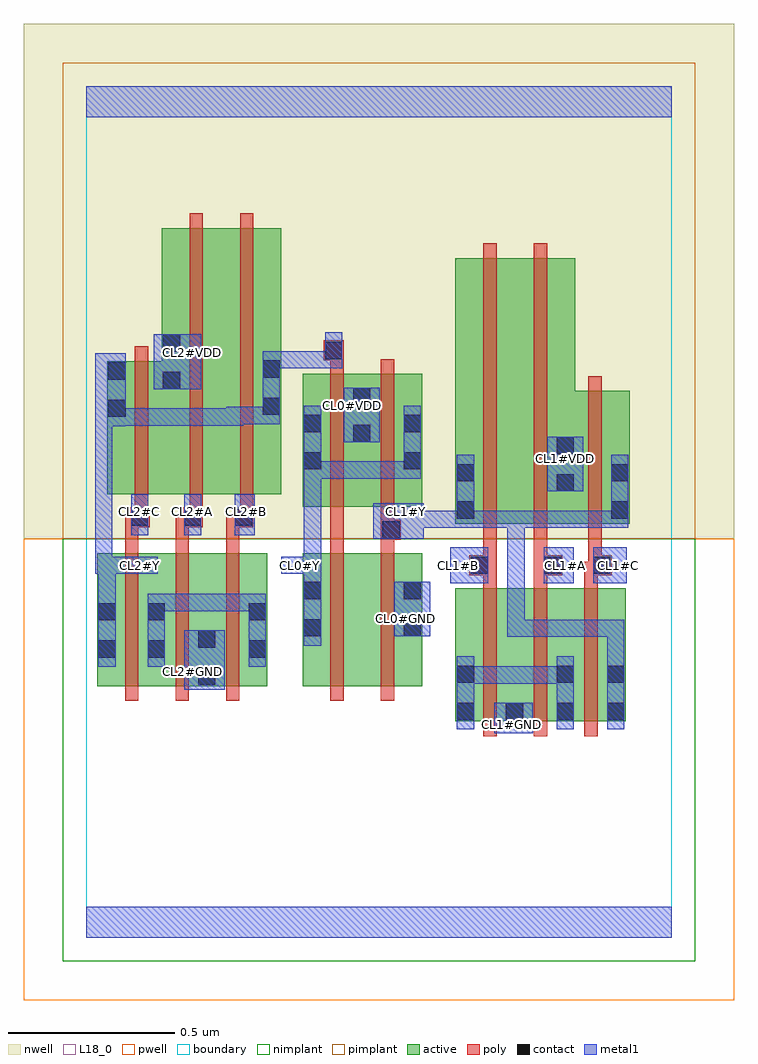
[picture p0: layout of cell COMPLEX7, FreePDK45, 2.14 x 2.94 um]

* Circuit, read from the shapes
.subckt COMPLEX7 CL0#GND CL0#VDD CL0#Y CL1#A CL1#B CL1#C CL1#GND CL1#VDD CL1#Y CL2#A CL2#B CL2#C CL2#GND CL2#VDD CL2#Y
M1 n1 CL2#C CL2#Y VSUBS nfet w=0.4u l=0.04u
M2 CL2#GND CL2#A n1 VSUBS nfet w=0.4u l=0.04u
M3 n1 CL2#B CL2#GND VSUBS nfet w=0.4u l=0.04u
M4 n2 CL2#Y CL0#Y VSUBS nfet w=0.4u l=0.04u
M5 CL0#GND CL1#Y n2 VSUBS nfet w=0.4u l=0.04u
M6 CL1#GND CL1#B n3 VSUBS nfet w=0.4u l=0.04u
M7 n3 CL1#A CL1#GND VSUBS nfet w=0.4u l=0.04u
M8 CL1#Y CL1#C n3 VSUBS nfet w=0.4u l=0.04u
M9 CL2#VDD CL2#C CL2#Y n4 pfet w=0.4u l=0.04u
M10 n5 CL2#A CL2#VDD n4 pfet w=0.8u l=0.04u
M11 CL2#Y CL2#B n5 n4 pfet w=0.8u l=0.04u
M12 CL0#VDD CL2#Y CL0#Y n4 pfet w=0.4u l=0.04u
M13 CL0#Y CL1#Y CL0#VDD n4 pfet w=0.4u l=0.04u
M14 n6 CL1#B CL1#Y n4 pfet w=0.8u l=0.04u
M15 CL1#VDD CL1#A n6 n4 pfet w=0.8u l=0.04u
M16 CL1#Y CL1#C CL1#VDD n4 pfet w=0.4u l=0.04u
.ends

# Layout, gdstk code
import gdstk
lib = gdstk.Library(unit=1e-6, precision=1e-09)
def R(c, l, rs):  # rectangles x0, y0, x1, y1
    for r in rs: c.add(gdstk.rectangle(r[:2], r[2:], *l))
def A(c, l, x, y, w, h, nx, ny, dx, dy):  # array of equal rectangles
    R(c, l, [(x+i*dx, y+j*dy, x+i*dx+w, y+j*dy+h) for i in range(nx) for j in range(ny)])
active = (1, 0)
pwell = (2, 0)
nwell = (3, 0)
nimplant = (4, 0)
pimplant = (5, 0)
poly = (9, 0)
contact = (10, 0)
metal1 = (11, 0)
L18_0 = (18, 0)
boundary = (235, 0)

complex7 = lib.new_cell('COMPLEX7')
A(complex7, active, 1.258, 0.65, 0.06, 0.4, 3, 1, 0.152, 0)
A(complex7, active, 0.18, 0.756, 0.06, 0.4, 3, 1, 0.152, 0)
R(complex7, active, [(1.11,0.65,1.17,1.05), (1.11,0.65,1.318,1.05), (1.258,0.65,1.47,1.05), (1.41,0.65,1.622,1.05), (0.032,0.756,0.092,1.156), (0.032,0.756,0.24,1.156), (0.18,0.756,0.392,1.156), (0.332,0.756,0.544,1.156), (0.65,0.756,0.71,1.156), (0.65,0.756,0.83,1.156), (0.83,0.756,1.01,1.156), (0.95,0.756,1.01,1.156), (1.11,1.244,1.17,2.044), (1.11,1.244,1.29,2.044), (1.29,1.244,1.47,2.044), (1.41,1.244,1.634,1.644), (1.41,1.244,1.47,2.044), (1.574,1.244,1.634,1.644), (0.65,1.296,0.858,1.696), (0.65,1.296,0.71,1.644), (0.798,1.296,1.01,1.696), (0.95,1.296,1.01,1.644), (0.798,1.31,0.858,1.696), (0.062,1.334,0.122,1.734), (0.062,1.334,0.286,1.734), (0.226,1.334,0.406,2.134), (0.406,1.334,0.586,2.134), (0.526,1.334,0.586,2.044), (0.226,1.498,0.286,1.818)])
R(complex7, pwell, [(-0.188,-0.188,1.948,1.2)])
R(complex7, nwell, [(-0.188,1.2,1.948,2.748)])
R(complex7, nimplant, [(-0.072,-0.072,1.832,1.2)])
R(complex7, pimplant, [(-0.072,1.2,1.832,2.632)])
A(complex7, poly, 1.194, 0.606, 0.04, 0.488, 3, 1, 0.152, 0)
A(complex7, poly, 0.116, 0.712, 0.04, 0.488, 3, 1, 0.152, 0)
A(complex7, poly, 1.194, 1.054, 0.04, 0.076, 3, 1, 0.152, 0)
A(complex7, poly, 0.116, 1.16, 0.04, 0.114, 3, 1, 0.152, 0)
R(complex7, poly, [(0.734,0.712,0.774,1.2), (0.886,0.712,0.926,1.2), (1.152,1.09,1.234,1.15), (1.346,1.09,1.386,1.13), (1.346,1.09,1.386,1.13), (1.346,1.09,1.432,1.15), (1.498,1.09,1.55,1.13), (1.51,1.09,1.55,1.13), (1.51,1.09,1.58,1.15), (1.194,1.11,1.234,1.24), (1.194,1.11,1.234,1.15), (1.194,1.11,1.234,1.15), (1.346,1.11,1.386,1.24), (1.51,1.11,1.55,1.24), (0.734,1.16,0.774,1.256), (0.886,1.16,0.926,1.236), (0.886,1.196,0.926,1.236), (0.886,1.196,0.926,1.236), (0.886,1.196,0.946,1.256), (1.194,1.2,1.234,2.088), (1.346,1.2,1.386,2.088), (1.51,1.2,1.55,1.688), (0.734,1.216,0.774,1.256), (0.734,1.216,0.774,1.256), (0.734,1.216,0.774,1.256), (0.734,1.216,0.774,1.292), (0.886,1.216,0.926,1.292), (0.116,1.234,0.17,1.274), (0.13,1.234,0.17,1.274), (0.13,1.234,0.19,1.294), (0.268,1.234,0.33,1.274), (0.29,1.234,0.33,1.274), (0.29,1.234,0.35,1.294), (0.42,1.234,0.482,1.274), (0.442,1.234,0.482,1.274), (0.442,1.234,0.502,1.294), (0.734,1.252,0.774,1.74), (0.886,1.252,0.926,1.74), (0.146,1.254,0.186,1.33), (0.31,1.254,0.35,1.33), (0.462,1.254,0.502,1.33), (0.146,1.29,0.186,1.778), (0.31,1.29,0.35,2.178), (0.462,1.29,0.502,2.178), (0.734,1.7,0.774,1.776), (0.714,1.736,0.774,1.796)])
A(complex7, contact, 1.262, 0.654, 0.052, 0.052, 3, 1, 0.152, 0)
R(complex7, contact, [(1.114,0.654,1.166,0.706), (0.336,0.76,0.388,0.812), (1.114,0.766,1.166,0.818), (1.414,0.766,1.466,0.818), (1.566,0.766,1.618,0.818), (0.036,0.842,0.088,0.894), (0.184,0.842,0.236,0.894), (0.488,0.842,0.54,0.894), (0.336,0.872,0.388,0.924), (0.654,0.906,0.706,0.958), (0.954,0.906,1.006,0.958), (0.036,0.954,0.088,1.006), (0.184,0.954,0.236,1.006), (0.488,0.954,0.54,1.006), (0.654,1.018,0.706,1.07), (0.954,1.018,1.006,1.07), (1.156,1.094,1.208,1.146), (1.376,1.094,1.428,1.146), (1.524,1.094,1.576,1.146), (0.89,1.2,0.942,1.252), (0.134,1.238,0.186,1.29), (0.294,1.238,0.346,1.29), (0.446,1.238,0.498,1.29), (1.114,1.26,1.166,1.312), (1.578,1.26,1.63,1.312), (1.414,1.342,1.466,1.394), (1.114,1.372,1.166,1.424), (1.578,1.372,1.63,1.424), (0.654,1.408,0.706,1.46), (0.954,1.408,1.006,1.46), (1.414,1.454,1.466,1.506), (0.802,1.49,0.854,1.542), (0.654,1.52,0.706,1.572), (0.954,1.52,1.006,1.572), (0.066,1.566,0.118,1.618), (0.53,1.572,0.582,1.624), (0.802,1.602,0.854,1.654), (0.23,1.65,0.282,1.702), (0.066,1.678,0.118,1.73), (0.53,1.684,0.582,1.736), (0.718,1.74,0.77,1.792), (0.23,1.762,0.282,1.814)])
R(complex7, metal1, [(0,0,1.76,0.092), (1.226,0.614,1.342,0.706), (1.114,0.626,1.166,0.846), (1.414,0.626,1.466,0.846), (1.566,0.626,1.618,0.846), (0.294,0.746,0.416,0.924), (1.114,0.764,1.166,0.816), (1.114,0.764,1.166,0.816), (1.114,0.764,1.328,0.816), (1.276,0.764,1.328,0.816), (1.276,0.764,1.466,0.816), (1.414,0.764,1.466,0.816), (1.414,0.764,1.466,0.816), (1.566,0.794,1.618,0.956), (0.036,0.814,0.088,1.034), (0.184,0.814,0.236,1.034), (0.488,0.814,0.54,1.034), (0.654,0.878,0.706,1.098), (1.266,0.904,1.318,0.956), (1.266,0.904,1.318,0.956), (1.266,0.904,1.318,0.956), (1.266,0.904,1.438,0.956), (1.266,0.904,1.318,1.284), (1.386,0.904,1.438,0.956), (1.386,0.904,1.618,0.956), (1.566,0.904,1.618,0.956), (1.566,0.904,1.618,0.956), (1.566,0.904,1.618,0.956), (0.926,0.906,1.034,1.07), (0.036,0.982,0.088,1.146), (0.184,0.982,0.236,1.034), (0.184,0.982,0.236,1.034), (0.184,0.982,0.43,1.034), (0.378,0.982,0.43,1.034), (0.378,0.982,0.43,1.034), (0.378,0.982,0.43,1.034), (0.378,0.982,0.54,1.034), (0.654,1.046,0.706,1.146), (1.094,1.066,1.208,1.174), (1.376,1.066,1.466,1.174), (1.524,1.066,1.626,1.174), (0.026,1.094,0.078,1.59), (0.026,1.094,0.214,1.146), (0.586,1.094,0.706,1.146), (0.654,1.094,0.706,1.146), (0.654,1.094,0.706,1.146), (0.654,1.094,0.706,1.432), (0.862,1.2,1.014,1.306), (0.134,1.21,0.186,1.334), (0.294,1.21,0.346,1.334), (0.446,1.21,0.506,1.334), (0.962,1.232,1.014,1.284), (0.962,1.232,1.014,1.284), (0.962,1.232,1.166,1.284), (1.114,1.232,1.166,1.284), (1.114,1.232,1.166,1.284), (1.114,1.232,1.166,1.284), (1.114,1.232,1.166,1.284), (1.114,1.232,1.166,1.284), (1.114,1.232,1.166,1.284), (1.114,1.232,1.166,1.452), (1.114,1.232,1.318,1.284), (1.114,1.232,1.318,1.284), (1.266,1.232,1.318,1.284), (1.266,1.232,1.318,1.284), (1.266,1.232,1.318,1.284), (1.266,1.232,1.318,1.284), (1.266,1.232,1.508,1.284), (1.456,1.232,1.508,1.284), (1.456,1.232,1.63,1.284), (1.578,1.232,1.63,1.284), (1.578,1.232,1.63,1.284), (1.578,1.232,1.63,1.452), (1.386,1.342,1.494,1.506), (0.654,1.38,0.706,1.432), (0.654,1.38,0.706,1.432), (0.654,1.38,0.706,1.6), (0.654,1.38,0.868,1.432), (0.816,1.38,0.868,1.432), (0.816,1.38,0.868,1.432), (0.816,1.38,0.868,1.432), (0.816,1.38,1.006,1.432), (0.954,1.38,1.006,1.6), (0.774,1.49,0.882,1.654), (0.026,1.538,0.078,1.59), (0.026,1.538,0.078,1.59), (0.026,1.538,0.118,1.758), (0.066,1.54,0.118,1.592), (0.066,1.54,0.118,1.592), (0.066,1.54,0.236,1.592), (0.184,1.54,0.236,1.592), (0.184,1.54,0.236,1.592), (0.184,1.54,0.236,1.592), (0.184,1.54,0.43,1.592), (0.378,1.54,0.43,1.592), (0.378,1.54,0.472,1.592), (0.42,1.54,0.472,1.596), (0.42,1.544,0.582,1.596), (0.53,1.544,0.582,1.764), (0.202,1.65,0.346,1.814), (0.53,1.712,0.582,1.764), (0.53,1.712,0.582,1.764), (0.53,1.712,0.582,1.764), (0.53,1.712,0.582,1.764), (0.53,1.712,0.582,1.764), (0.53,1.712,0.582,1.764), (0.53,1.712,0.582,1.764), (0.53,1.712,0.582,1.764), (0.53,1.712,0.582,1.764), (0.53,1.712,0.582,1.764), (0.53,1.712,0.77,1.764), (0.718,1.712,0.77,1.82), (0,2.468,1.76,2.56)])
A(complex7, L18_0, 0.134, 1.254, 0.052, 0.052, 3, 1, 0.16, 0)
R(complex7, L18_0, [(0,0,1.76,0.092), (1.226,0.614,1.342,0.706), (1.254,0.614,1.306,0.666), (1.566,0.626,1.618,0.846), (0.294,0.746,0.416,0.924), (0.294,0.774,0.346,0.826), (1.566,0.794,1.618,0.956), (0.036,0.814,0.088,1.034), (0.654,0.878,0.706,1.098), (1.266,0.904,1.318,0.956), (1.266,0.904,1.318,0.956), (1.266,0.904,1.318,0.956), (1.266,0.904,1.318,1.284), (1.266,0.904,1.438,0.956), (1.386,0.904,1.438,0.956), (1.386,0.904,1.618,0.956), (1.566,0.904,1.618,0.956), (1.566,0.904,1.618,0.956), (1.566,0.904,1.618,0.956), (0.926,0.906,1.034,1.07), (0.934,0.934,0.986,0.986), (0.036,0.982,0.088,1.146), (0.654,1.046,0.706,1.146), (1.094,1.066,1.208,1.174), (1.376,1.066,1.466,1.174), (1.524,1.066,1.626,1.174), (0.026,1.094,0.214,1.146), (0.026,1.094,0.078,1.59), (0.134,1.094,0.186,1.146), (0.586,1.094,0.706,1.146), (0.614,1.094,0.666,1.146), (0.654,1.094,0.706,1.146), (0.654,1.094,0.706,1.146), (0.654,1.094,0.706,1.432), (1.094,1.094,1.146,1.146), (1.414,1.094,1.466,1.146), (1.574,1.094,1.626,1.146), (0.862,1.2,1.014,1.306), (0.134,1.21,0.186,1.334), (0.294,1.21,0.346,1.334), (0.446,1.21,0.506,1.334), (0.962,1.232,1.014,1.284), (0.962,1.232,1.014,1.284), (0.962,1.232,1.166,1.284), (1.114,1.232,1.166,1.452), (1.114,1.232,1.166,1.284), (1.114,1.232,1.166,1.284), (1.114,1.232,1.166,1.284), (1.114,1.232,1.166,1.284), (1.114,1.232,1.166,1.284), (1.114,1.232,1.166,1.284), (1.114,1.232,1.318,1.284), (1.114,1.232,1.318,1.284), (1.266,1.232,1.318,1.284), (1.266,1.232,1.318,1.284), (1.266,1.232,1.318,1.284), (1.266,1.232,1.318,1.284), (1.266,1.232,1.508,1.284), (1.456,1.232,1.508,1.284), (1.456,1.232,1.63,1.284), (1.578,1.232,1.63,1.452), (1.578,1.232,1.63,1.284), (1.578,1.232,1.63,1.284), (0.934,1.254,0.986,1.306), (1.386,1.342,1.494,1.506), (0.654,1.38,0.706,1.6), (0.654,1.38,0.706,1.432), (0.654,1.38,0.706,1.432), (0.654,1.38,0.868,1.432), (0.816,1.38,0.868,1.432), (0.816,1.38,0.868,1.432), (0.816,1.38,0.868,1.432), (0.816,1.38,1.006,1.432), (0.954,1.38,1.006,1.6), (1.414,1.414,1.466,1.466), (0.774,1.49,0.882,1.654), (0.026,1.538,0.078,1.59), (0.026,1.538,0.078,1.59), (0.026,1.538,0.118,1.758), (0.066,1.54,0.118,1.592), (0.066,1.54,0.118,1.592), (0.066,1.54,0.236,1.592), (0.184,1.54,0.236,1.592), (0.184,1.54,0.236,1.592), (0.184,1.54,0.236,1.592), (0.184,1.54,0.43,1.592), (0.378,1.54,0.43,1.592), (0.378,1.54,0.472,1.592), (0.42,1.54,0.472,1.596), (0.42,1.544,0.582,1.596), (0.53,1.544,0.582,1.764), (0.774,1.574,0.826,1.626), (0.202,1.65,0.346,1.814), (0.53,1.712,0.582,1.764), (0.53,1.712,0.582,1.764), (0.53,1.712,0.582,1.764), (0.53,1.712,0.582,1.764), (0.53,1.712,0.582,1.764), (0.53,1.712,0.582,1.764), (0.53,1.712,0.582,1.764), (0.53,1.712,0.582,1.764), (0.53,1.712,0.582,1.764), (0.53,1.712,0.582,1.764), (0.53,1.712,0.77,1.764), (0.718,1.712,0.77,1.82), (0.294,1.734,0.346,1.786), (0,2.468,1.76,2.56)])
R(complex7, boundary, [(0,0,1.76,2.56)])
complex7.add(gdstk.Label('CL0#GND', (0.96,0.96), layer=11, texttype=0))
complex7.add(gdstk.Label('CL0#VDD', (0.8,1.6), layer=11, texttype=0))
complex7.add(gdstk.Label('CL0#Y', (0.64,1.12), layer=11, texttype=0))
complex7.add(gdstk.Label('CL1#A', (1.44,1.12), layer=11, texttype=0))
complex7.add(gdstk.Label('CL1#B', (1.12,1.12), layer=11, texttype=0))
complex7.add(gdstk.Label('CL1#C', (1.6,1.12), layer=11, texttype=0))
complex7.add(gdstk.Label('CL1#GND', (1.28,0.64), layer=11, texttype=0))
complex7.add(gdstk.Label('CL1#VDD', (1.44,1.44), layer=11, texttype=0))
complex7.add(gdstk.Label('CL1#Y', (0.96,1.28), layer=11, texttype=0))
complex7.add(gdstk.Label('CL2#A', (0.32,1.28), layer=11, texttype=0))
complex7.add(gdstk.Label('CL2#B', (0.48,1.28), layer=11, texttype=0))
complex7.add(gdstk.Label('CL2#C', (0.16,1.28), layer=11, texttype=0))
complex7.add(gdstk.Label('CL2#GND', (0.32,0.8), layer=11, texttype=0))
complex7.add(gdstk.Label('CL2#VDD', (0.32,1.76), layer=11, texttype=0))
complex7.add(gdstk.Label('CL2#Y', (0.16,1.12), layer=11, texttype=0))

lib.write_gds('COMPLEX7.gds')
